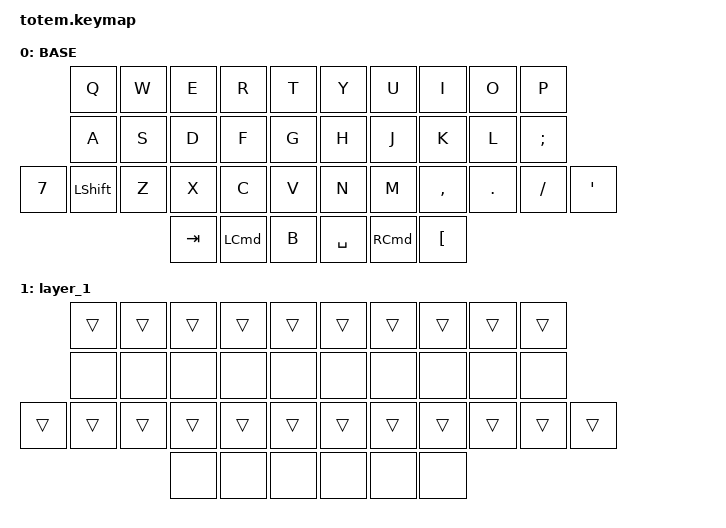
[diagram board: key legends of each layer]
//
//                                                        ▀▀▀▀▀     ▀▀▀▀▀          ▀▀█▀▀
//                                                        ▄▀▀▀▄  ▄  ▄▀▀▀▄  ▄  ▄▀▀▀▄  █  ▄▀▀▀▄
//                                                        █   █  █  █   █  █  █   █  █  █   █
//                                                         ▀▀▀   █   ▀▀▀   █   ▀▀▀   ▀   ▀▀▀
//                                                               █      ▄▄▄█▄▄▄    █   █  
//                                                               ▀      █  █  █     █▄█
//                                                             ▀▀▀▀▀    █  █  █      ▀
//                                                                      ▀  ▀  ▀
//
// ▄▄▄▄▄▄▄▄▄▄▄▄▄▄▄▄▄▄▄▄▄▄▄▄▄▄▄▄▄▄▄▄▄▄▄▄▄▄▄▄▄▄▄▄▄▄▄▄▄▄▄▄▄▄▄▄▄▄▄▄▄▄▄▄▄▄▄▄▄▄▄▄▄▄▄▄▄▄▄▄▄▄▄▄▄▄▄▄▄▄▄▄▄▄▄▄▄▄▄▄▄▄▄▄▄▄▄▄▄▄▄▄▄▄▄▄▄▄▄▄▄▄▄▄▄▄▄▄▄▄▄▄▄▄▄▄▄▄▄▄▄▄▄▄▄▄▄▄▄

#include <behaviors.dtsi>
#include <dt-bindings/zmk/bt.h>
#include <dt-bindings/zmk/keys.h>

#define BASE 0
#define NAV  1
#define SYM  2
#define ADJ  3

&mt {
    quick-tap-ms = <100>;
    global-quick-tap;
    flavor = "tap-preferred";
    tapping-term-ms = <170>;
};

/ {
    combos {
        compatible = "zmk,combos";

        btl {
            bindings = <&tog 1>;
            key-positions = <4 2 1 0 34>;
        };

        btr {
            bindings = <&tog 1>;
            key-positions = <5 7 8 9 35>;
        };

        btrl {
            bindings = <&bt BT_CLR_ALL>;
            key-positions = <10 11 12 13 33>;
        };

        btrr {
            bindings = <&bt BT_CLR_ALL>;
            key-positions = <16 17 18 19 36>;
        };

        softoff {
            bindings = <&custom_sleep>;
            key-positions = <10 11 12 13>;
            layers = <0>;
        };
    };

    macros {
        gif: gif {
            label = "giphy";
            compatible = "zmk,behavior-macro";
            #binding-cells = <0>;
            bindings =
                <&macro_press>,
                <&kp LSHFT>,
                <&macro_tap>,
                <&kp N2>,
                <&macro_release>,
                <&kp LSHFT>,
                <&macro_tap>,
                <&kp G &kp I &kp F>;
        };
    };

    behaviors {
        custom_sleep: custom_sleep {
            compatible = "zmk,behavior-soft-off";
            label = "CUSTOM_SLEEP";
            #binding-cells = <0>;
            hold-time-ms = <10>;
            split-peripheral-off-on-press;
        };
    };

    keymap {
        compatible = "zmk,keymap";

        // ▄▄▄▄▄▄▄▄▄▄▄▄▄▄▄▄▄▄▄▄▄▄▄▄▄▄▄▄▄▄▄▄▄▄▄▄▄▄▄▄▄▄▄▄▄▄▄▄▄▄▄▄▄▄▄▄▄▄▄▄▄▄▄▄▄▄▄▄▄▄▄▄▄▄▄▄▄▄▄▄▄▄▄▄▄▄▄▄▄▄▄▄▄▄▄▄▄▄▄▄▄▄▄▄▄▄▄▄▄▄▄▄▄▄▄▄▄▄▄▄▄▄▄▄▄▄▄▄▄▄▄▄▄▄▄▄▄▄▄▄▄▄▄▄▄▄▄▄▄

        base_layer {
            // ┏━━━━━━━━━━━━━━━━━━━━━━━━━━━━━━━━━━━━━━━┓

            label = "BASE";

            // ┗━━━━━━━━━━━━━━━━━━━━━━━━━━━━━━━━━━━━━━━┛
            //             ┏━━━━━━━━━━━┳━━━━━━━━━━━┳━━━━━━━━━━━┳━━━━━━━━━━━┳━━━━━━━━━━━┓   ┏━━━━━━━━━━━┳━━━━━━━━━━━┳━━━━━━━━━━━┳━━━━━━━━━━━┳━━━━━━━━━━━┓
            //             ┃     Q     ┃     W     ┃     F     ┃     P     ┃     G     ┃   ┃     J     ┃     L     ┃     U     ┃     Y     ┃     ;     ┃
            //             ┣━━━━━━━━━━━╋━━━━━━━━━━━╋━━━━━━━━━━━╋━━━━━━━━━━━╋━━━━━━━━━━━┫   ┣━━━━━━━━━━━╋━━━━━━━━━━━╋━━━━━━━━━━━╋━━━━━━━━━━━╋━━━━━━━━━━━┫
            //             ┃     A     ┃     R     ┃     S     ┃     T     ┃     D     ┃   ┃     H     ┃     N     ┃     E     ┃     I     ┃     O     ┃
            // ┏━━━━━━━━━━━╋━━━━━━━━━━━╋━━━━━━━━━━━╋━━━━━━━━━━━╋━━━━━━━━━━━╋━━━━━━━━━━━┫   ┣━━━━━━━━━━━╋━━━━━━━━━━━╋━━━━━━━━━━━╋━━━━━━━━━━━╋━━━━━━━━━━━╋━━━━━━━━━━━┓
            // ┃           ┃     Z     ┃     X     ┃     C     ┃     V     ┃     B     ┃   ┃     K     ┃     M     ┃     ,     ┃     .     ┃     /     ┃           ┃
            // ┗━━━━━━━━━━━┻━━━━━━━━━━━┻━━━━━━━━━━━╋━━━━━━━━━━━╋━━━━━━━━━━━╋━━━━━━━━━━━┫   ┣━━━━━━━━━━━╋━━━━━━━━━━━╋━━━━━━━━━━━╋━━━━━━━━━━━┻━━━━━━━━━━━┻━━━━━━━━━━━┛
            //                                     ┃           ┃    TAB    ┃    SPC    ┃   ┃   ENTER   ┃   BSPC    ┃           ┃
            //                                     ┗━━━━━━━━━━━┻━━━━━━━━━━━┻━━━━━━━━━━━┛   ┗━━━━━━━━━━━┻━━━━━━━━━━━┻━━━━━━━━━━━┛

            bindings = <
        &kp Q           &kp W  &kp E    &kp R             &kp T    &kp Y      &kp U              &kp I             &kp O    &kp P
        &kp A           &kp S  &kp D    &kp F             &kp G    &kp H      &kp J              &kp K             &kp L    &kp SEMI
&kp N7  &kp LEFT_SHIFT  &kp Z  &kp X    &kp C             &kp V    &kp N      &kp M              &kp COMMA         &kp DOT  &kp FSLH  &kp APOS
                               &kp TAB  &kp LEFT_COMMAND  &kp B    &kp SPACE  &kp RIGHT_COMMAND  &kp LEFT_BRACKET
            >;
        };

        layer_1 {
            bindings = <
        &trans  &trans  &trans  &trans  &trans    &trans  &trans  &trans  &trans  &trans
        &none   &none   &none   &none   &none     &none   &none   &none   &none   &none
&trans  &trans  &trans  &trans  &trans  &trans    &trans  &trans  &trans  &trans  &trans  &trans
                        &none   &none   &none     &none   &none   &none
            >;
        };

        // ▄▄▄▄▄▄▄▄▄▄▄▄▄▄▄▄▄▄▄▄▄▄▄▄▄▄▄▄▄▄▄▄▄▄▄▄▄▄▄▄▄▄▄▄▄▄▄▄▄▄▄▄▄▄▄▄▄▄▄▄▄▄▄▄▄▄▄▄▄▄▄▄▄▄▄▄▄▄▄▄▄▄▄▄▄▄▄▄▄▄▄▄▄▄▄▄▄▄▄▄▄▄▄▄▄▄▄▄▄▄▄▄▄▄▄▄▄▄▄▄▄▄▄▄▄▄▄▄▄▄▄▄▄▄▄▄▄▄▄▄▄▄▄▄▄▄▄▄▄
        // ▄▄▄▄▄▄▄▄▄▄▄▄▄▄▄▄▄▄▄▄▄▄▄▄▄▄▄▄▄▄▄▄▄▄▄▄▄▄▄▄▄▄▄▄▄▄▄▄▄▄▄▄▄▄▄▄▄▄▄▄▄▄▄▄▄▄▄▄▄▄▄▄▄▄▄▄▄▄▄▄▄▄▄▄▄▄▄▄▄▄▄▄▄▄▄▄▄▄▄▄▄▄▄▄▄▄▄▄▄▄▄▄▄▄▄▄▄▄▄▄▄▄▄▄▄▄▄▄▄▄▄▄▄▄▄▄▄▄▄▄▄▄▄▄▄▄▄▄▄
        // ▄▄▄▄▄▄▄▄▄▄▄▄▄▄▄▄▄▄▄▄▄▄▄▄▄▄▄▄▄▄▄▄▄▄▄▄▄▄▄▄▄▄▄▄▄▄▄▄▄▄▄▄▄▄▄▄▄▄▄▄▄▄▄▄▄▄▄▄▄▄▄▄▄▄▄▄▄▄▄▄▄▄▄▄▄▄▄▄▄▄▄▄▄▄▄▄▄▄▄▄▄▄▄▄▄▄▄▄▄▄▄▄▄▄▄▄▄▄▄▄▄▄▄▄▄▄▄▄▄▄▄▄▄▄▄▄▄▄▄▄▄▄▄▄▄▄▄▄▄
    };
};
